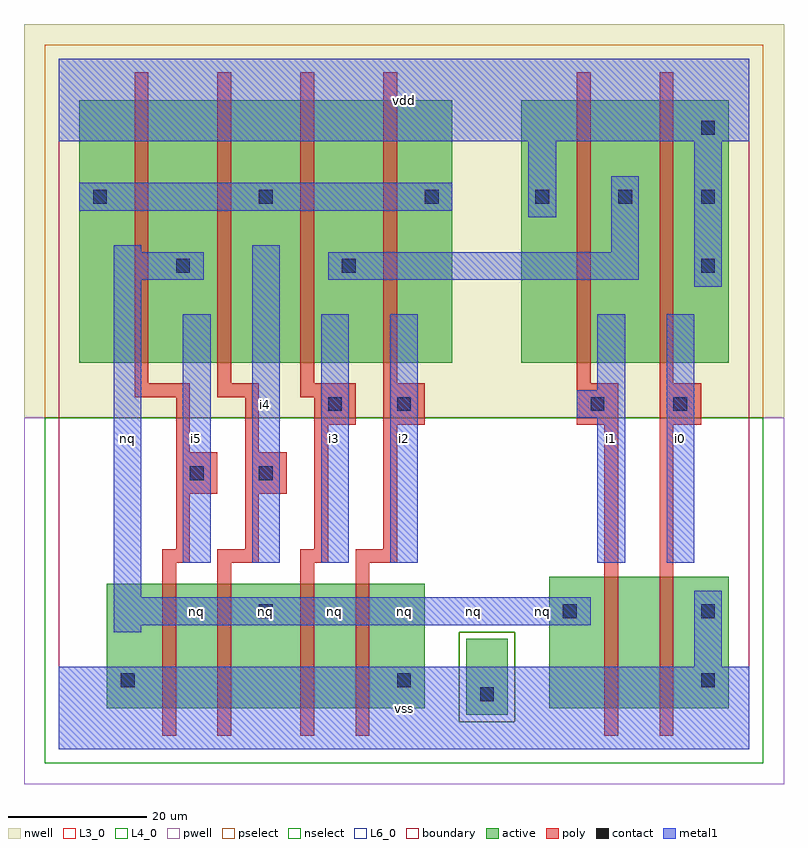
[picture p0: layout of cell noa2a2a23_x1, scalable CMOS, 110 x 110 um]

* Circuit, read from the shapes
.subckt noa2a2a23_x1 i0 i1 i2 i3 i4 i5 nq vdd vss
M1 n1 i5 vss vss nfet w=18u l=2u
M2 nq i4 n1 vss nfet w=18u l=2u
M3 n2 i3 nq vss nfet w=18u l=2u
M4 vss i2 n2 vss nfet w=18u l=2u
M5 n3 i1 nq vss nfet w=19u l=2u
M6 vss i0 n3 vss nfet w=19u l=2u
M7 nq i5 n4 n5 pfet w=38u l=2u
M8 n4 i4 nq n5 pfet w=38u l=2u
M9 n6 i3 n4 n5 pfet w=38u l=2u
M10 n4 i2 n6 n5 pfet w=38u l=2u
M11 n6 i1 vdd n5 pfet w=38u l=2u
M12 vdd i0 n6 n5 pfet w=38u l=2u
.ends

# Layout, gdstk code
import gdstk
lib = gdstk.Library(unit=1e-6, precision=1e-09)
def R(c, l, rs):  # rectangles x0, y0, x1, y1
    for r in rs: c.add(gdstk.rectangle(r[:2], r[2:], *l))
def A(c, l, x, y, w, h, nx, ny, dx, dy):  # array of equal rectangles
    R(c, l, [(x+i*dx, y+j*dy, x+i*dx+w, y+j*dy+h) for i in range(nx) for j in range(ny)])
L3_0 = (3, 0)
L4_0 = (4, 0)
L6_0 = (6, 0)
contact = (25, 0)
pwell = (41, 0)
nwell = (42, 0)
active = (43, 0)
pselect = (44, 0)
nselect = (45, 0)
poly = (46, 0)
metal1 = (49, 0)
boundary = (63, 0)

noa2a2a23_x1 = lib.new_cell('noa2a2a23_x1')
R(noa2a2a23_x1, L3_0, [(7,6,53,24), (71,6,97,25)])
R(noa2a2a23_x1, L4_0, [(3,56,57,94), (67,56,97,94)])
R(noa2a2a23_x1, L6_0, [(59,5,65,16)])
A(noa2a2a23_x1, contact, 5, 79, 2, 2, 3, 1, 24, 0)
A(noa2a2a23_x1, contact, 69, 79, 2, 2, 3, 1, 12, 0)
R(noa2a2a23_x1, contact, [(61,7,63,9), (9,9,11,11), (49,9,51,11), (93,9,95,11), (29,19,31,21), (73,19,75,21), (93,19,95,21), (19,39,21,41), (29,39,31,41), (39,49,41,51), (49,49,51,51), (77,49,79,51), (89,49,91,51), (17,69,19,71), (41,69,43,71), (93,69,95,71), (93,89,95,91)])
R(noa2a2a23_x1, pwell, [(-5,-5,105,48)])
R(noa2a2a23_x1, nwell, [(-5,48,105,105)])
R(noa2a2a23_x1, active, [(59,5,65,16), (7,6,53,24), (71,6,97,25), (3,56,57,94), (67,56,97,94)])
R(noa2a2a23_x1, pselect, [(58,4,66,17), (-2,48,102,102)])
R(noa2a2a23_x1, nselect, [(-2,-2,102,4), (-2,4,58,17), (66,4,102,17), (-2,17,102,48)])
A(noa2a2a23_x1, poly, 11, 53, 2, 45, 4, 1, 12, 0)
R(noa2a2a23_x1, poly, [(15,2,17,27), (23,2,25,27), (35,2,37,27), (43,2,45,27), (79,2,81,47), (87,2,89,47), (15,27,19,29), (23,27,29,29), (35,27,39,29), (43,27,49,29), (17,29,19,37), (27,29,29,37), (37,29,39,47), (47,29,49,47), (17,37,23,43), (27,37,33,43), (17,43,19,51), (27,43,29,51), (37,47,43,51), (47,47,53,53), (75,47,81,53), (87,47,93,53), (11,51,19,53), (23,51,29,53), (35,51,43,53), (75,53,77,98), (87,53,89,98)])
R(noa2a2a23_x1, metal1, [(0,0,100,12), (92,12,96,23), (8,17,12,18), (8,18,77,22), (8,22,12,68), (18,27,22,63), (28,27,32,73), (38,27,42,63), (48,27,52,63), (78,27,82,48), (88,27,92,63), (75,48,82,52), (78,52,82,63), (92,67,96,88), (8,68,21,72), (39,68,84,72), (8,72,12,73), (80,72,84,83), (68,77,72,88), (3,78,57,82), (0,88,100,100)])
R(noa2a2a23_x1, boundary, [(0,0,100,100)])
noa2a2a23_x1.add(gdstk.Label('nq', (20,20), layer=49, texttype=0))
noa2a2a23_x1.add(gdstk.Label('nq', (10,45), layer=49, texttype=0))
noa2a2a23_x1.add(gdstk.Label('i5', (20,45), layer=49, texttype=0))
noa2a2a23_x1.add(gdstk.Label('nq', (30,20), layer=49, texttype=0))
noa2a2a23_x1.add(gdstk.Label('nq', (40,20), layer=49, texttype=0))
noa2a2a23_x1.add(gdstk.Label('i3', (40,45), layer=49, texttype=0))
noa2a2a23_x1.add(gdstk.Label('i4', (30,50), layer=49, texttype=0))
noa2a2a23_x1.add(gdstk.Label('nq', (50,20), layer=49, texttype=0))
noa2a2a23_x1.add(gdstk.Label('vss', (50,6), layer=49, texttype=0))
noa2a2a23_x1.add(gdstk.Label('nq', (60,20), layer=49, texttype=0))
noa2a2a23_x1.add(gdstk.Label('nq', (70,20), layer=49, texttype=0))
noa2a2a23_x1.add(gdstk.Label('i2', (50,45), layer=49, texttype=0))
noa2a2a23_x1.add(gdstk.Label('vdd', (50,94), layer=49, texttype=0))
noa2a2a23_x1.add(gdstk.Label('i1', (80,45), layer=49, texttype=0))
noa2a2a23_x1.add(gdstk.Label('i0', (90,45), layer=49, texttype=0))

lib.write_gds('noa2a2a23_x1.gds')
